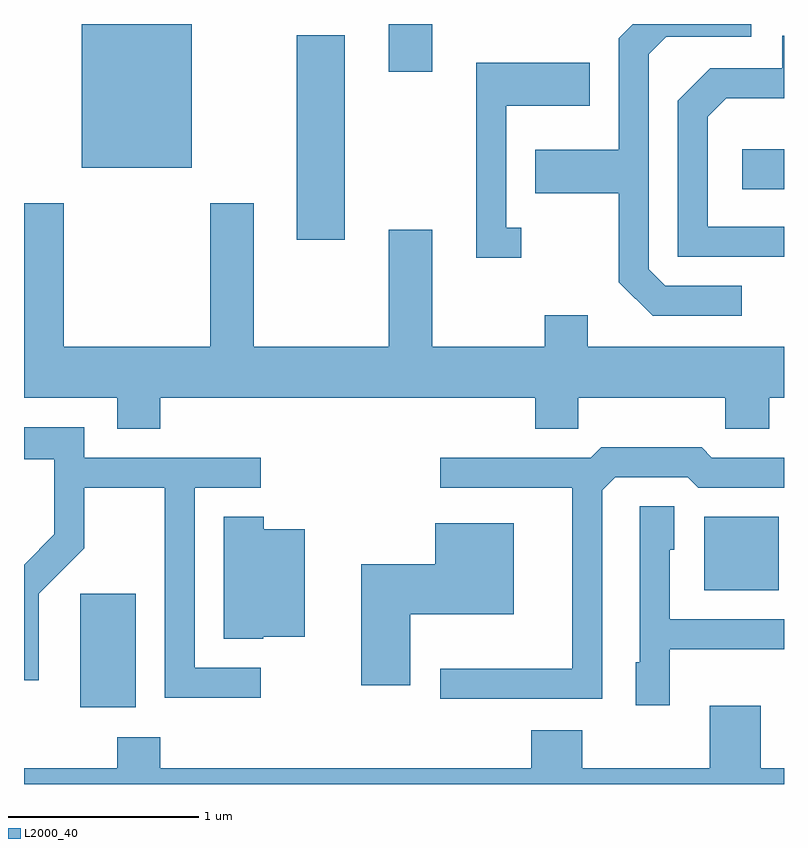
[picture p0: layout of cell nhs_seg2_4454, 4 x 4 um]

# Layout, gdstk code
import gdstk
lib = gdstk.Library(unit=1e-6, precision=1e-09)
def R(c, l, rs):  # rectangles x0, y0, x1, y1
    for r in rs: c.add(gdstk.rectangle(r[:2], r[2:], *l))
def P(c, l, *ps):  # polygons
    for p in ps: c.add(gdstk.Polygon(p, *l))
L2000_40 = (2000, 40)

nhs_seg2_4454 = lib.new_cell('nhs_seg2_4454')
R(nhs_seg2_4454, L2000_40, [(315.906,1082.206,316.199,1082.804), (319.191,1082.821,319.584,1083.209), (317.046,1084.666,317.299,1085.744), (319.391,1084.931,319.611,1085.144), (315.916,1085.046,316.494,1085.802), (317.531,1085.551,317.759,1085.802)])
P(nhs_seg2_4454, L2000_40, [(319.388,1084.424),(318.987,1084.424),(318.899,1084.512),(318.899,1085.644),(318.992,1085.736),(319.438,1085.736),(319.438,1085.802),(318.816,1085.802),(318.741,1085.727),(318.741,1085.139),(318.301,1085.139),(318.301,1084.911),(318.741,1084.911),(318.741,1084.444),(318.919,1084.266),(319.388,1084.266)],
  [(319.611,1084.734),(319.209,1084.734),(319.209,1085.314),(319.307,1085.411),(319.611,1085.411),(319.611,1085.739),(319.601,1085.739),(319.601,1085.569),(319.224,1085.569),(319.051,1085.397),(319.051,1084.576),(319.611,1084.576)],
  [(318.228,1084.729),(318.149,1084.729),(318.149,1085.371),(318.589,1085.371),(318.589,1085.599),(317.991,1085.599),(317.991,1084.571),(318.228,1084.571)],
  [(316.329,1083.836),(318.301,1083.836),(318.301,1083.671),(318.529,1083.671),(318.529,1083.836),(319.301,1083.836),(319.301,1083.671),(319.534,1083.671),(319.534,1083.836),(319.611,1083.836),(319.611,1084.104),(318.579,1084.104),(318.579,1084.269),(318.351,1084.269),(318.351,1084.104),(317.759,1084.104),(317.759,1084.719),(317.531,1084.719),(317.531,1084.104),(316.819,1084.104),(316.819,1084.859),(316.591,1084.859),(316.591,1084.104),(315.819,1084.104),(315.819,1084.859),(315.611,1084.859),(315.611,1083.836),(316.101,1083.836),(316.101,1083.671),(316.329,1083.671)],
  [(316.858,1082.414),(316.509,1082.414),(316.509,1083.361),(316.858,1083.361),(316.858,1083.519),(315.929,1083.519),(315.929,1083.679),(315.611,1083.679),(315.611,1083.511),(315.771,1083.511),(315.771,1083.117),(315.611,1082.957),(315.611,1082.348),(315.689,1082.348),(315.689,1082.804),(315.929,1083.044),(315.929,1083.361),(316.351,1083.361),(316.351,1082.256),(316.858,1082.256)],
  [(318.654,1083.349),(318.722,1083.416),(319.104,1083.416),(319.159,1083.361),(319.611,1083.361),(319.611,1083.519),(319.232,1083.519),(319.177,1083.574),(318.649,1083.574),(318.594,1083.519),(317.803,1083.519),(317.803,1083.361),(318.496,1083.361),(318.496,1082.409),(317.803,1082.409),(317.803,1082.251),(318.654,1082.251)],
  [(319.009,1082.511),(319.611,1082.511),(319.611,1082.669),(319.009,1082.669),(319.009,1083.036),(319.034,1083.036),(319.034,1083.264),(318.851,1083.264),(318.851,1082.444),(318.831,1082.444),(318.831,1082.216),(319.009,1082.216)],
  [(316.87,1082.576),(317.089,1082.576),(317.089,1083.144),(316.874,1083.144),(316.874,1083.209),(316.661,1083.209),(316.661,1082.566),(316.87,1082.566)],
  [(317.644,1082.696),(318.189,1082.696),(318.189,1083.174),(317.776,1083.174),(317.776,1082.959),(317.386,1082.959),(317.386,1082.321),(317.644,1082.321)],
  [(319.611,1081.884),(319.489,1081.884),(319.489,1082.214),(319.221,1082.214),(319.221,1081.884),(318.549,1081.884),(318.549,1082.084),(318.281,1082.084),(318.281,1081.884),(316.329,1081.884),(316.329,1082.049),(316.101,1082.049),(316.101,1081.884),(315.611,1081.884),(315.611,1081.802),(319.611,1081.802)])

lib.write_gds('nhs_seg2_4454.gds')
